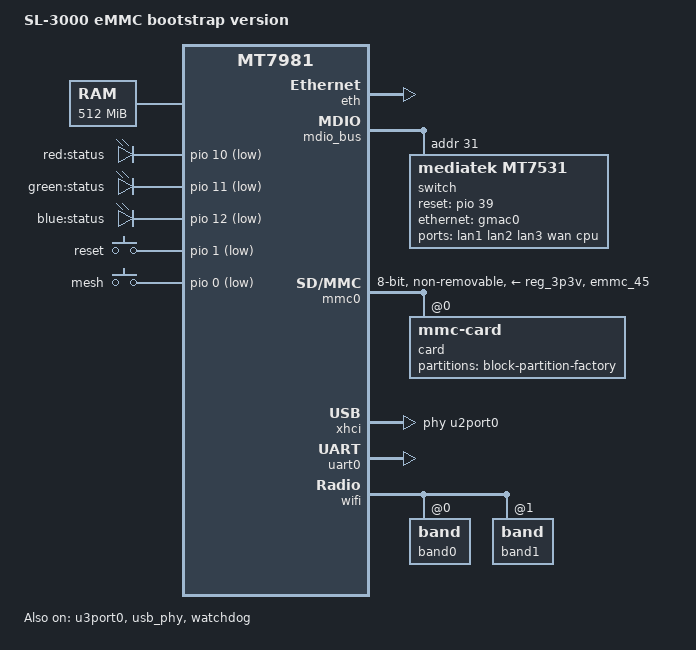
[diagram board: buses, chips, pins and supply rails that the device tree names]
// SPDX-License-Identifier: GPL-2.0-or-later 
/*
 * Copyright (C) 2023 Air Jinkela <air_jinkela@163.com>
 */

/dts-v1/;
#include <dt-bindings/gpio/gpio.h>
#include <dt-bindings/input/input.h>
#include <dt-bindings/leds/common.h>

#include "mt7981.dtsi"

/ {
	model = "SL-3000 eMMC bootstrap version";
	compatible = "sl,3000-emmc", "mediatek,mt7981";
	
	chosen {
        stdout-path = "serial0:115200n8";
        bootargs-append = " root=PARTLABEL=rootfs rootwait";
	};

    memory {
		reg = <0 0x40000000 0 0x20000000>;
	};

    aliases {
		led-boot = &red_led;
		led-failsafe = &red_led;
		led-running = &green_led;
		led-upgrade = &blue_led;
        serial0 = &uart0;
	};

	gpio-leds {
		compatible = "gpio-leds";

		red_led: led-0 {
			label = "red:status";
			gpios = <&pio 10 GPIO_ACTIVE_LOW>;
		};

		green_led: led-1 {
			label = "green:status";
			gpios = <&pio 11 GPIO_ACTIVE_LOW>;
		};

		blue_led: led-2 {
			label = "blue:status";
			gpios = <&pio  12 GPIO_ACTIVE_LOW>;
		};
	};

	gpio-keys {
		compatible = "gpio-keys";

		reset {
			label = "reset";
			linux,code = <KEY_RESTART>;
			gpios = <&pio 1 GPIO_ACTIVE_LOW>;
		};

		mesh {
			label = "mesh";
			gpios = <&pio 0 GPIO_ACTIVE_LOW>;
			linux,code = <KEY_WPS_BUTTON>;
		};
	};
};

&pio {
	
	mmc0_pins_default: mmc0-pins-default {
		mux {
			function = "flash";
			groups = "emmc_45";
		};
	};

	mmc0_pins_uhs: mmc0-pins-uhs {
		mux {
			function = "flash";
			groups = "emmc_45";
		};
	};
};

&eth {
	status = "okay";

	gmac0: mac@0 {
        compatible = "mediatek,eth-mac";
        reg = <0>;
        phy-mode = "2500base-x";

        fixed-link {
            speed = <2500>;
            full-duplex;
            pause;
        };
    };

	gmac1: mac@1 {
        compatible = "mediatek,eth-mac";
        reg = <1>;
        phy-mode = "2500base-x";

        fixed-link {
            speed = <2500>;
            full-duplex;
            pause;
        };
    };
};

&mdio_bus {
    switch: switch@1f {
        compatible = "mediatek,mt7531";
		reg = <31>;
        reset-gpios = <&pio 39 GPIO_ACTIVE_HIGH>;
    };
};

&switch {
    ports {
        #address-cells = <1>;
        #size-cells = <0>;

        port@0 {
            reg = <0>;
            label = "lan1";
        };

        port@1 {
            reg = <1>;
            label = "lan2";
        };

        port@2 {
            reg = <2>;
            label = "lan3";
        };

        port@3 {
            reg = <3>;
            label = "wan";
        };

        port@6 {
            reg = <6>;
            label = "cpu";
            ethernet = <&gmac0>;
            phy-mode = "2500base-x";

            fixed-link {
                speed = <2500>;
                full-duplex;
                pause;
            };
        };
    };
};

&mmc0 {
	status = "okay";

	pinctrl-names = "default", "state_uhs";
	pinctrl-0 = <&mmc0_pins_default>;
	pinctrl-1 = <&mmc0_pins_uhs>;
	bus-width = <8>;
	max-frequency = <52000000>;
	vmmc-supply = <&reg_3p3v>;
	cap-mmc-highspeed;
	non-removable;

    card@0 {
        compatible = "mmc-card";
        reg = <0>;

        block {
            compatible = "block-device";

            partitions {
                block-partition-factory {
                    partname = "factory";

                    nvmem-layout {
                        compatible = "fixed-layout";
                        #address-cells = <1>;
                        #size-cells = <1>;

                        eeprom_factory_0: eeprom@0 {
                            reg = <0x0 0x1000>;
                        };
                        
                        macaddr_factory_4: macaddr@4 {
                            compatible = "mac-base";
                            reg = <0x4 0x6>;
                            #nvmem-cell-cells = <1>;
                        };
                    };
                };
            };
        };
    };
};

&u3port0 {
    nvmem-cells = <&comb_intr_p0 &comb_rx_imp_p0 &comb_tx_imp_p0>;
    nvmem-cell-names = "intr", "rx_imp", "tx_imp";
    status = "okay";
};

&xhci {
	mediatek,u3p-dis-msk = <0x0>;
	phys = <&u2port0 PHY_TYPE_USB2>,
	       <&u3port0 PHY_TYPE_USB3>;
	status = "okay";
};

&usb_phy {
    status = "okay";
};

&uart0 {
	status = "okay";
};

&watchdog {
	status = "okay";
};

&wifi {
	status = "okay";
	nvmem-cells = <&eeprom_factory_0>;
	nvmem-cell-names = "eeprom";

	band0: band@0 {
		reg = <0>;
		nvmem-cells = <&macaddr_factory_4 1>;
		nvmem-cell-names = "mac-address";
	};

	band1: band@1 {
		reg = <1>;
		nvmem-cells = <&macaddr_factory_4 2>;
		nvmem-cell-names = "mac-address";
	};
};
